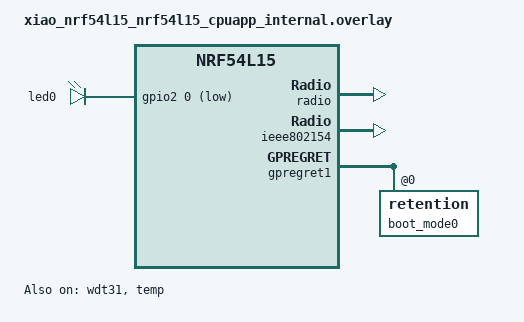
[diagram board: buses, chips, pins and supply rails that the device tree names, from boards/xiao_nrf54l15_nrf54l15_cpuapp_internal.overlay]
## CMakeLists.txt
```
#
# Copyright (c) 2023 Nordic Semiconductor ASA
#
# SPDX-License-Identifier: LicenseRef-Nordic-5-Clause
#

cmake_minimum_required(VERSION 3.20.0)

find_package(Zephyr HINTS $ENV{ZEPHYR_BASE})

project(thermostat)

# Enable GNU STD support.
include(${ZEPHYR_CONNECTEDHOMEIP_MODULE_DIR}/config/nrfconnect/app/enable-gnu-std.cmake)

# NORDIC SDK APP START

# Include all source files that are located in the Matter common directory.
include(${ZEPHYR_NRF_MODULE_DIR}/samples/matter/common/cmake/source_common.cmake)

# Include Data Model utils
include(${ZEPHYR_NRF_MODULE_DIR}/samples/matter/common/cmake/data_model.cmake)

include(${ZEPHYR_NRF_MODULE_DIR}/samples/matter/common/cmake/zap_helpers.cmake)
ncs_get_zap_parent_dir(ZAP_PARENT_DIR)

target_include_directories(app PRIVATE
  src
  src/sync
  third_party
  ${ZAP_PARENT_DIR}
)

target_sources(app PRIVATE
  src/airconditioner_manager.cpp
  src/airconditioner_shell.cpp
  src/app_task.cpp
  src/main.cpp
  src/s21/s21_datalink_uart.cpp
  src/s21/s21_frame.cpp
  src/s21/s21_manager.cpp
  src/s21/s21_presentation.cpp
  src/s21/s21_presentation_sync_adapter.cpp
  src/s21/s21_shell.cpp
  src/s21/s21_stack.cpp
  src/zcl_callbacks.cpp
  src/sync/projector.cpp
  src/sync/reconciler.cpp
  src/sync/change_publisher.cpp
  src/sync/sync_coordinator.cpp
  src/sync/aai_thermostat.cpp
  src/sync/aai_onoff.cpp
  src/sync/aai_fan_control.cpp
  src/sync/aai_humidity.cpp
  src/sync/aai_installer.cpp
  src/sync/command_router.cpp
)

ncs_configure_data_model()
# NORDIC SDK APP END
```

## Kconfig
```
#
# Copyright (c) 2023 Nordic Semiconductor
#
# SPDX-License-Identifier: LicenseRef-Nordic-5-Clause
#
mainmenu "Matter Thermostat sample application"

config THERMOSTAT_TEMPERATURE_STEP
	int "Defines a simulated temperature step. Use 0 for random"
	default 0
	help
	  A temperature step that defines differences between consecutive simulated temperature measurements. If set to 0, then the step is random.

config THERMOSTAT_SIMULATED_TEMPERATURE_MAX
	int "Maximum simulated temperature value"
	default 3000

config THERMOSTAT_SIMULATED_TEMPERATURE_MIN
	int "Minimum simulated temperature value"
	default 1500

config THERMOSTAT_SIMULATED_TEMPERATURE_CHANGE
	bool "Select to set the temperature to rise or fall"
	default y
	help
	  If set to true, the simulated temperature is rising. If set to false, the simulated temperature is falling.

# Enable Read Client functionality for all build configurations.
config CHIP_ENABLE_READ_CLIENT
	default y

# Sample configuration used for Thread networking
if OPENTHREAD

choice OPENTHREAD_NORDIC_LIBRARY_CONFIGURATION
	default OPENTHREAD_NORDIC_LIBRARY_FTD
endchoice

choice OPENTHREAD_DEVICE_TYPE
	default OPENTHREAD_FTD
endchoice

endif # OPENTHREAD

config CHIP_WIFI
	default y if BOARD_NRF7002DK_NRF5340_CPUAPP || SHIELD_NRF7002EB2
	select DEPRECATED if SOC_SERIES_NRF53X

source "$(ZEPHYR_CONNECTEDHOMEIP_MODULE_DIR)/config/nrfconnect/chip-module/Kconfig.features"
source "$(ZEPHYR_CONNECTEDHOMEIP_MODULE_DIR)/config/nrfconnect/chip-module/Kconfig.defaults"
source "$(ZEPHYR_NRF_MODULE_DIR)/samples/matter/common/src/Kconfig"
source "Kconfig.zephyr"
```

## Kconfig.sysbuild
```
#
# Copyright (c) 2023 Nordic Semiconductor ASA
#
# SPDX-License-Identifier: LicenseRef-Nordic-5-Clause
#

# This config has to be enabled manually for variants with shields, because sysbuild does not support it.
config WIFI_NRF70
	default y if BOARD_NRF7002DK

#### Radio core selection
config NRF_DEFAULT_IPC_RADIO
	default y

# Enable IEEE802.15.4 serialization to network core
# This config automatically pulls in the `overlay-802154.conf` in the ipc_radio image
config NETCORE_IPC_RADIO_IEEE802154
	default y if SOC_SERIES_NRF53X && !WIFI_NRF70

# Enable Bluetooth serialization to network core
# This config automatically pulls in the `overlay-bt_hci_ipc.conf` in the ipc_radio image
config NETCORE_IPC_RADIO_BT_HCI_IPC
	default y if SOC_SERIES_NRF53X

#### Bootloader
choice BOOTLOADER
	default BOOTLOADER_MCUBOOT
endchoice

if BOOTLOADER_MCUBOOT

#### DFU multi-image support
config DFU_MULTI_IMAGE_PACKAGE_BUILD
	default y

config DFU_MULTI_IMAGE_PACKAGE_APP
	default y

config PM_EXTERNAL_FLASH_MCUBOOT_SECONDARY
	default y

#### DFU network core configuration
if SOC_SERIES_NRF53X

choice MCUBOOT_MODE
	default MCUBOOT_MODE_OVERWRITE_ONLY
endchoice

choice BOOT_SIGNATURE_TYPE
	default BOOT_SIGNATURE_TYPE_RSA
endchoice

config SECURE_BOOT_NETCORE
	default y

config NETCORE_APP_UPDATE
	default y

config DFU_MULTI_IMAGE_PACKAGE_NET
	default y

endif # SOC_SERIES_NRF53X

#### Production image signing for the nRF54L series (XIAO + DK)
if SOC_SERIES_NRF54L

# MCUboot image signing. By default the public verification key is compiled into
# the MCUboot image (MCUBOOT_SIGNATURE_USING_KMU defaults to n in the SDK); this
# works with the XIAO's onboard CMSIS-DAP probe via a plain `west flash`, with no
# provisioning step.
#
# To instead store the key in the hardware KMU (more hardened, supports key
# revocation), build with -DSB_CONFIG_MCUBOOT_SIGNATURE_USING_KMU=y (or set it in
# sysbuild_internal.conf) and flash with a SEGGER J-Link via
# `west flash --runner jlink --erase`. The XIAO's CMSIS-DAP probe cannot provision
# the KMU. The private key and the signing operation are identical either way --
# only the public-key storage location differs -- so switching needs no new key.

choice BOOT_SIGNATURE_TYPE
	default BOOT_SIGNATURE_TYPE_ED25519
endchoice

# Emit keyfile.json (consumed by `west flash --erase` to provision the KMU) only
# when KMU storage is selected, so MCUBOOT_SIGNATURE_USING_KMU is the single flag
# that controls the whole mode.
config MCUBOOT_GENERATE_DEFAULT_KEY_FILE
	default y if MCUBOOT_SIGNATURE_USING_KMU

# Production signing key, shared by both storage modes. ${APP_DIR} is expanded by
# the image-signing CMake script to the application directory (a bare relative
# path would instead be resolved against the west workspace topdir). This file is
# gitignored and must be generated locally (see README); a fresh clone will not
# build until it is supplied.
config BOOT_SIGNATURE_KEY_FILE
	default "${APP_DIR}/keys/mcuboot_ed25519_priv.pem"

endif # SOC_SERIES_NRF54L

if BOARD_NRF54L15DK || BOARD_NRF54LM20DK

# Disable checking the external drivers for nRF54L15 and nRF54LM20 DKs.
config PM_OVERRIDE_EXTERNAL_DRIVER_CHECK
	default y

endif # BOARD_NRF54L15DK || BOARD_NRF54LM20DK

endif # BOOTLOADER_MCUBOOT

#### Enable generating factory data
config MATTER_FACTORY_DATA_GENERATE
	default y

# Store the Wi-Fi firmware patch on external flash by default for nRF5340 with nRF7002
if WIFI_NRF70 && SOC_NRF5340_CPUAPP

choice WIFI_PATCHES_EXT_FLASH_SUPPORT
	default WIFI_PATCHES_EXT_FLASH_STORE

endchoice

config DFU_MULTI_IMAGE_PACKAGE_WIFI_FW_PATCH
	default y

endif # WIFI_NRF70

source "share/sysbuild/Kconfig"
```

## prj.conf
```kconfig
#
# Copyright (c) 2023 Nordic Semiconductor ASA
#
# SPDX-License-Identifier: LicenseRef-Nordic-5-Clause
#

# This sample uses Kconfig.defaults to set options common for all
# samples. This file should contain only options specific for this sample
# or overrides of default values.

CONFIG_CONSOLE=y
CONFIG_UART_CONSOLE=y

# Enable shell
CONFIG_SHELL=y
CONFIG_SHELL_TAB=y
CONFIG_SHELL_HELP=y
CONFIG_SHELL_HISTORY=y
CONFIG_SHELL_METAKEYS=y
CONFIG_DEVICE_SHELL=y
CONFIG_UART_SHELL=y
CONFIG_CHIP_LIB_SHELL=y
CONFIG_NCS_SAMPLE_MATTER_TEST_SHELL=y
CONFIG_OPENTHREAD_SHELL=y

# Enable UART
CONFIG_SERIAL=y
CONFIG_UART_ASYNC_API=y
CONFIG_UART_NRFX=y
CONFIG_NET_BUF=y

# Enable CHIP
CONFIG_CHIP=y
CONFIG_CHIP_PROJECT_CONFIG="src/chip_project_config.h"
CONFIG_CHIP_DEVICE_PRODUCT_NAME="Matter Air Conditioner"

# Configure ZAP file name
CONFIG_NCS_SAMPLE_MATTER_ZAP_FILE_PATH="${APPLICATION_CONFIG_DIR}/src/default_zap/room-airconditioner.zap"

# 32781 == 0x800d (example specialised product)
CONFIG_CHIP_DEVICE_PRODUCT_ID=32781
CONFIG_STD_CPP17=y

# Enable Matter pairing automatically on application start.
CONFIG_CHIP_ENABLE_PAIRING_AUTOSTART=y

# Enable Matter extended announcement and increase duration to 1 hour.
CONFIG_CHIP_BLE_EXT_ADVERTISING=y
CONFIG_CHIP_BLE_ADVERTISING_DURATION=60

# Add support for LEDs and buttons on Nordic development kits
CONFIG_DK_LIBRARY=n

# Bluetooth Low Energy configuration
CONFIG_BT_DEVICE_NAME="MatterAirCon"

# Other settings
CONFIG_THREAD_NAME=y
CONFIG_MPU_STACK_GUARD=y
CONFIG_RESET_ON_FATAL_ERROR=n

# Disable NFC onboarding
CONFIG_CHIP_NFC_ONBOARDING_PAYLOAD=n

# Reduce application size
CONFIG_USE_SEGGER_RTT=n

# Enable Factory Data feature
CONFIG_CHIP_FACTORY_DATA=y
CONFIG_CHIP_FACTORY_DATA_BUILD=y

# Configure UART logging and shell
CONFIG_LOG=y
CONFIG_LOG_MODE_DEFERRED=y
CONFIG_LOG_PROCESS_THREAD_STACK_SIZE=1024
CONFIG_LOG_BUFFER_SIZE=8192
CONFIG_LOG_FUNC_NAME_PREFIX_DBG=y

# Use hardware FPU with hard-float ABI
CONFIG_FPU=y
CONFIG_FP_HARDABI=y

# Use pre-built OpenThread FTD library (instead of building from source)
CONFIG_OPENTHREAD_LIBRARY=y
```

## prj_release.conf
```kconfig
#
# Copyright (c) 2023 Nordic Semiconductor ASA
#
# SPDX-License-Identifier: LicenseRef-Nordic-5-Clause
#

# This sample uses Kconfig.defaults to set options common for all
# samples. This file should contain only options specific for this sample
# or overrides of default values.

# Enable UART
CONFIG_SERIAL=y
CONFIG_UART_ASYNC_API=y
CONFIG_UART_NRFX=y
CONFIG_NET_BUF=y

# Enable CHIP
CONFIG_CHIP=y
CONFIG_CHIP_PROJECT_CONFIG="src/chip_project_config.h"
CONFIG_CHIP_DEVICE_PRODUCT_NAME="Matter Air Conditioner"

# Configure ZAP file name
CONFIG_NCS_SAMPLE_MATTER_ZAP_FILE_PATH="${APPLICATION_CONFIG_DIR}/src/default_zap/room-airconditioner.zap"

# 32781 == 0x800d (example specialised product)
CONFIG_CHIP_DEVICE_PRODUCT_ID=32781
CONFIG_STD_CPP17=y

# Enable Matter pairing automatically on application start.
CONFIG_CHIP_ENABLE_PAIRING_AUTOSTART=y

# Enable Matter extended announcement and increase duration to 1 hour.
CONFIG_CHIP_BLE_EXT_ADVERTISING=y
CONFIG_CHIP_BLE_ADVERTISING_DURATION=60

# Add support for LEDs and buttons on Nordic development kits
CONFIG_DK_LIBRARY=n

# Bluetooth Low Energy configuration
CONFIG_BT_DEVICE_NAME="MatterThermo"

# Enable system reset on fatal error
CONFIG_RESET_ON_FATAL_ERROR=y

# Disable all debug features
CONFIG_USE_SEGGER_RTT=n
CONFIG_SHELL=n
CONFIG_OPENTHREAD_SHELL=n
CONFIG_CHIP_LIB_SHELL=n
CONFIG_CONSOLE=n
CONFIG_UART_CONSOLE=n
CONFIG_SERIAL=n
CONFIG_LOG=n
CONFIG_LOG_MODE_MINIMAL=n
CONFIG_ASSERT_VERBOSE=n
CONFIG_ASSERT_NO_FILE_INFO=y
CONFIG_PRINTK=n
CONFIG_PRINTK_SYNC=n
CONFIG_THREAD_NAME=n
CONFIG_BOOT_BANNER=n

# Disable NFC onboarding
CONFIG_CHIP_NFC_ONBOARDING_PAYLOAD=n

# Use hardware FPU with hard-float ABI
CONFIG_FPU=y
CONFIG_FP_HARDABI=y

# Use pre-built OpenThread FTD library (instead of building from source)
CONFIG_OPENTHREAD_LIBRARY=y

# Enable Factory Data feature
CONFIG_CHIP_FACTORY_DATA=y
CONFIG_CHIP_FACTORY_DATA_BUILD=y

# Enable Watchdog
CONFIG_NCS_SAMPLE_MATTER_WATCHDOG=y

# Enable LTO to decrease the flash usage.
CONFIG_LTO=y
CONFIG_ISR_TABLES_LOCAL_DECLARATION=y
```

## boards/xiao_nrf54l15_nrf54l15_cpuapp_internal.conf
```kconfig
#
# Copyright (c) 2024 Nordic Semiconductor ASA
#
# SPDX-License-Identifier: LicenseRef-Nordic-5-Clause
#

# Adapted from nrf54l15dk/Kconfig.defconfig
CONFIG_HW_STACK_PROTECTION=y

# Enable Watchdog
CONFIG_NCS_SAMPLE_MATTER_WATCHDOG=y

# Enable LTO to decrease the flash usage.
CONFIG_LTO=y
CONFIG_ISR_TABLES_LOCAL_DECLARATION=y

# S21DataLinkUart: nrfx GPPI for DPPI channel allocation, dynamic ISR
CONFIG_NRFX_GPPI=y
CONFIG_DYNAMIC_INTERRUPTS=y
```

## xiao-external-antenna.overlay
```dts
/*
 * External antenna for XIAO nRF54L15.
 */

&rfsw_ctl {
    /delete-property/ regulator-boot-on;
    regulator-boot-off; // switch to external antenna
};
```

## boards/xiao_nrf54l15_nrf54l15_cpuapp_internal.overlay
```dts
/*
 * Copyright (c) 2024 Nordic Semiconductor ASA
 *
 * SPDX-License-Identifier: LicenseRef-Nordic-5-Clause
 */

/ {
	chosen {
		zephyr,flash-controller = &rram_controller; /* from boards/nordic/nrf54l15dk/nrf54l_05_10_15_cpuapp_common.dtsi */
		zephyr,boot-mode = &boot_mode0;		    /* from boards/nordic/nrf54l15dk/nrf54l_05_10_15_cpuapp_common.dtsi */
	};

	aliases {
		/* Use watchdog wdt31 as the application watchdog */
		watchdog0 = &wdt31;
		s21uart = &uart21;
	};
};

&led0 {
	gpios = <&gpio2 0 GPIO_ACTIVE_LOW>; /* board default is incorrectly set as GPIO_ACTIVE_HIGH */
};

/* restore full RRAM and SRAM space - by default some parts are dedicated to FLRP */
&cpuapp_rram {
	reg = <0x0 DT_SIZE_K(1524)>;
};

&cpuapp_sram {
	reg = <0x20000000 DT_SIZE_K(256)>;
	ranges = <0x0 0x20000000 0x40000>;
};

/* S21 UART — managed directly via nrfx (not the Zephyr serial driver).
 * Pin mux and baud rate are configured in S21DataLinkUart::init().
 * Keep status = "reserved" so DT macros (DT_ALIAS, DT_IRQ) still work. */
&timer20 {
	status = "reserved"; /* used as S21 watchdog timer; managed directly via nrfx HAL */
};

&uart21 {
	status = "reserved";
	current-speed = <2400>;
	parity = "even";
	stop-bits = "2";
	/delete-property/ hw-flow-control;
};

&wdt31 {
	status = "okay";
};

/* save energy by disabling unused peripherals */
&i2c22 {
	status = "disabled";
};

&i2c30 {
	status = "disabled";
};

&spi00 {
	status = "disabled";
};

/* only present on the XIAO Sense variant */
&lsm6ds3tr_c {
	status = "disabled";
};

/* only present on the XIAO Sense variant */
&pdm_imu_pwr {
	status = "disabled";
};

/* disable battery voltage monitoring (regulator-boot-off). change to regulator-boot-on if running on battery and monitoring voltage (ADC P1.14). */
&vbat_pwr {
	regulator-boot-off;
};

/* begin: from boards/nordic/nrf54l15dk/nrf54l_05_10_15_cpuapp_common.dtsi */
&radio {
	status = "okay";
};

&ieee802154 {
	status = "okay";
};

&temp {
	status = "okay";
};

&gpregret1 {
	status = "okay";

	boot_mode0: boot_mode@0 {
		compatible = "zephyr,retention";
		status = "okay";
		reg = <0x0 0x1>;
	};
};
/* end: from boards/nordic/nrf54l15dk/nrf54l_05_10_15_cpuapp_common.dtsi */
```

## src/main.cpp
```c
/*
 * Copyright (c) 2023 Nordic Semiconductor ASA
 *
 * SPDX-License-Identifier: LicenseRef-Nordic-5-Clause
 */

#include "app_task.h"

#include <zephyr/logging/log.h>

LOG_MODULE_REGISTER(app, CONFIG_MATTER_LOG_LEVEL);

int main()
{
    CHIP_ERROR err = AppTask::Instance().StartApp();

    LOG_ERR("Exited with code %" CHIP_ERROR_FORMAT, err.Format());
    return err == CHIP_NO_ERROR ? EXIT_SUCCESS : EXIT_FAILURE;
}
```

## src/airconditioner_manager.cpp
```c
/*
 * Copyright (c) 2023 Nordic Semiconductor ASA
 *
 * SPDX-License-Identifier: LicenseRef-Nordic-5-Clause
 */

#include "airconditioner_manager.h"
#include "sync/aai_translation.h"
#include "sync/s21_observation.h"
#include "sync/sync_coordinator.h"

#include "app/task_executor.h"

#include <app-common/zap-generated/cluster-objects.h>
#include <app/reporting/reporting.h>
#include <platform/PlatformManager.h>
#include <zephyr/drivers/gpio.h>
#include <zephyr/logging/log.h>

#include <optional>
#include <utility>

LOG_MODULE_REGISTER(aircon_mgr, LOG_LEVEL_DBG);

using namespace chip;
using namespace ::chip::DeviceLayer;
using namespace ::chip::app::Clusters;
using namespace ::chip::app::Clusters::Thermostat::Attributes;
using namespace Protocols::InteractionModel;

K_THREAD_STACK_DEFINE(sS21WorkQueueStack, 2048);

namespace {

uint8_t ReturnCompleteValue(int16_t v)  { return static_cast<uint8_t>(v / 100); }
uint8_t ReturnRemainderValue(int16_t v) { return static_cast<uint8_t>((v % 100 + 5) / 10); }

} // namespace

// ─── PowerIndicatorListener: LED0 ownership ─────────────────────────────────

const struct gpio_dt_spec
AirConditionerManager::PowerIndicator::sLed0 =
    GPIO_DT_SPEC_GET(DT_ALIAS(led0), gpios);

int AirConditionerManager::PowerIndicator::Init(bool initialOnOff)
{
    if (!gpio_is_ready_dt(&sLed0)) {
        LOG_ERR("LED0 GPIO device is not ready");
        return -ENODEV;
    }
    const int flags = initialOnOff ? GPIO_OUTPUT_ACTIVE : GPIO_OUTPUT_INACTIVE;
    const int rc = gpio_pin_configure_dt(&sLed0, flags);
    if (rc < 0) {
        LOG_ERR("Failed to configure LED0 GPIO pin (%d)", rc);
        return rc;
    }
    return 0;
}

void AirConditionerManager::PowerIndicator::Set(bool onOff)
{
    gpio_pin_set_dt(&sLed0, onOff);
}

void AirConditionerManager::PowerIndicator::OnChangedAttributes(
    const std::vector<sync::LogicalAttribute>& attributes)
{
    for (auto attr : attributes) {
        if (attr == sync::LogicalAttribute::OnOff) {
            // Both gpio_pin_set_dt and ReadOnOff are thread-safe and
            // don't touch the CHIP stack lock, so this runs synchronously
            // on whichever thread dispatched the listener.
            Set(mOwner.mSyncCoordinator->ReadOnOff());
            return;
        }
    }
}

// ─── MatterReportListener: dirty-attribute queue + drain ────────────────────

void AirConditionerManager::MatterAttributeChangeReporter::OnChangedAttributes(
    const std::vector<sync::LogicalAttribute>& attributes)
{
    k_mutex_lock(&mQueueMutex, K_FOREVER);
    mQueue.insert(mQueue.end(), attributes.begin(), attributes.end());
    k_mutex_unlock(&mQueueMutex);

    Nrf::PostTask([this] { DrainOnMatterEventLoop(); });
}

void AirConditionerManager::MatterAttributeChangeReporter::DrainOnMatterEventLoop()
{
    std::vector<sync::LogicalAttribute> local;
    k_mutex_lock(&mQueueMutex, K_FOREVER);
    local.swap(mQueue);
    k_mutex_unlock(&mQueueMutex);
    if (local.empty()) return;

    PlatformMgr().LockChipStack();
    for (auto attr : local) {
        const auto [cluster, attribute] = sync_aai::toMatterAddress(attr);
        // The {0,0} sentinel marks attributes without a Matter address yet
        // (currently only BridgedDeviceBasicInformation::Reachable, pending
        // Phase 8 ZAP work). Skip those rather than emitting a bogus report.
        if (cluster == 0 && attribute == 0) continue;
        MatterReportingAttributeChangeCallback(kThermostatEndpoint, cluster, attribute);
    }
    PlatformMgr().UnlockChipStack();
}

// ─── Init / lifecycle ────────────────────────────────────────────────────────

CHIP_ERROR AirConditionerManager::Init(S21Manager& s21Manager, sync::SyncCoordinator& syncStack)
{
    mS21Manager = &s21Manager;
    mSyncCoordinator  = &syncStack;

    // Configure LED0 and drive it to the current OnOff before registering
    // the listener — a dispatch arriving before Init returns would
    // otherwise fire gpio_pin_set_dt on an unconfigured pin.
    if (mPowerIndicator.Init(mSyncCoordinator->ReadOnOff()) != 0) {
        return CHIP_ERROR_INTERNAL;
    }

    k_work_queue_start(&mS21WorkQueue, sS21WorkQueueStack,
                       K_THREAD_STACK_SIZEOF(sS21WorkQueueStack),
                       K_PRIO_PREEMPT(5), NULL);
    k_work_init_delayable(&mPollWork,      PollWorkHandler);
    k_work_init_delayable(&mInitRetryWork, InitRetryWorkHandler);
    k_work_init_delayable(&mCommandWork,   CommandWorkHandler);

    // Wire up SyncCoordinator so AAI Writes and Polls schedule the right
    // follow-up work. The pump handler is a static fn; the two listeners
    // are nested-class members that reach mOwner for context.
    mSyncCoordinator->SetCommandPumpHandler(&AirConditionerManager::ScheduleS21CommandHandler);
    ReturnErrorOnFailure(mSyncCoordinator->AddChangedAttributesListener(&mMatterAttributeChangeReporter));
    ReturnErrorOnFailure(mSyncCoordinator->AddChangedAttributesListener(&mPowerIndicator));

    if (mS21Manager->Init() == 0) {
        k_work_reschedule_for_queue(&mS21WorkQueue, &mPollWork, K_NO_WAIT);
    } else {
        LOG_DBG("S21Manager Init failed; retry in %d ms", mInitRetryIntervalMs);
        k_work_reschedule_for_queue(&mS21WorkQueue, &mInitRetryWork,
                                    K_MSEC(mInitRetryIntervalMs));
    }

    LOG_DBG("AirConditionerManager initialised");
    return CHIP_NO_ERROR;
}

// ─── Poll loop (S21 work queue) ──────────────────────────────────────────────

void AirConditionerManager::PollWorkHandler(k_work* work)
{
    auto* dwork = k_work_delayable_from_work(work);
    auto& self  = *CONTAINER_OF(dwork, AirConditionerManager, mPollWork);
    self.Poll();
    k_work_reschedule_for_queue(&self.mS21WorkQueue, &self.mPollWork,
                                K_SECONDS(kS21PollIntervalSec));
}

void AirConditionerManager::Poll()
{
    // Env first: when both phases fire on the same tick, the operational
    // projector pass downstream sees the freshly-applied indoor temperature
    // when it computes RunningMode (Auto-mode disambiguation, no-valve
    // hysteresis fallback). Dirty attribution lands in one pass instead of
    // an env-then-op re-flip.
    PollEnvironmentalPhase();
    PollOperationalPhase();
    // Dirty-attribute flush, command-pump scheduling, and the LED side
    // effect for OnOff transitions are all handled by the SyncCoordinator hooks
    // installed in Init().
}

void AirConditionerManager::PollEnvironmentalPhase()
{
    const bool envTick = (mEnvironmentalReadCountdown == 0);
    if (envTick) mEnvironmentalReadCountdown = kS21EnvironmentalSensorReadTicks - 1;
    else         --mEnvironmentalReadCountdown;
    if (!envTick) return;

    auto indoor   = mS21Manager->getRoomTemperature();
    auto outdoor  = mS21Manager->getOutdoorTemperature();
    auto humidity = mS21Manager->getHumidity();

    if (!indoor)   LOG_WRN("getRoomTemperature failed: %s",    indoor.error().message);
    if (!outdoor)  LOG_INF("getOutdoorTemperature failed: %s", outdoor.error().message);
    if (!humidity) LOG_INF("getHumidity failed: %s",           humidity.error().message);

    // All-or-nothing env contract (C1 split). Partial sensor data would
    // leave LogicalACState's SensorFields out of sync with each other for
    // the rest of the env cycle; better to skip this tick and try the
    // next one ~2 minutes later.
    if (!indoor || !outdoor || !humidity) return;

    mSyncCoordinator->ApplyEnvironmentalObservation(sync::S21EnvironmentalObservation{
        .indoorTemperatureCelsius      = *indoor,
        .outdoorTemperatureCelsius     = *outdoor,
        .indoorRelativeHumidityPercent = *humidity,
    });
}

void AirConditionerManager::PollOperationalPhase()
{
    auto op = mS21Manager->getOperation();
    if (!op) LOG_WRN("getOperation failed: %s", op.error().message);

    // Reachability heartbeat is op alone: env doesn't run every tick.
    if (!op) {
        if (++mConsecutivePollFailures >= kReachableFailureThreshold) {
            LOG_WRN("S21 link unresponsive after %d polls; marking unreachable",
                    mConsecutivePollFailures);
            mSyncCoordinator->NotifyLinkDown();
        }
        return;
    }
    mConsecutivePollFailures = 0;

    auto [onOff, mode, setpoint, fanMode] = *op;

    // Only query RzB2 when the unit reports powered on: when off, the
    // refrigerant valve is closed and the projector already short-circuits
    // RunningMode to Off on !onOff, so the read is pure overhead.
    std::optional<bool> refrigerantValveOpen;
    if (onOff) {
        auto unitState = mS21Manager->getUnitState();
        if (!unitState) LOG_INF("getUnitState failed: %s", unitState.error().message);
        else            refrigerantValveOpen = unitState->refrigerantValveOpen;
    }

    mSyncCoordinator->ApplyOperationalObservation(sync::S21OperationalObservation{
        .onOff                = onOff,
        .operatingMode        = mode,
        .setpointCelsius      = setpoint,
        .fanMode              = fanMode,
        .refrigerantValveOpen = refrigerantValveOpen,
    });
}

void AirConditionerManager::InitRetryWorkHandler(k_work* work)
{
    auto* dwork = k_work_delayable_from_work(work);
    auto& self  = *CONTAINER_OF(dwork, AirConditionerManager, mInitRetryWork);

    LOG_DBG("Retrying S21Manager::Init()");
    int err = self.mS21Manager->Init();
    LOG_DBG("S21Manager::Init() returned %d, isReady=%s", err,
            self.mS21Manager->isReady() ? "true" : "false");

    if (err == 0) {
        __ASSERT(self.mS21Manager->isReady(),
                 "S21Manager::Init() succeeded but manager is not ready");
        k_work_reschedule_for_queue(&self.mS21WorkQueue, &self.mPollWork, K_NO_WAIT);
    } else {
        k_work_reschedule_for_queue(&self.mS21WorkQueue, &self.mInitRetryWork,
                                    K_MSEC(self.mInitRetryIntervalMs));
        self.mInitRetryIntervalMs = MIN(self.mInitRetryIntervalMs * 2,
                                        kS21InitRetryMaximumIntervalMilliSec);
    }
}

// ─── Command pump (S21 work queue) ───────────────────────────────────────────

void AirConditionerManager::ScheduleS21CommandHandler()
{
    auto& self = Instance();
    k_work_reschedule_for_queue(&self.mS21WorkQueue, &self.mCommandWork,
                                K_MSEC(kCommandDebounceMs));
}

void AirConditionerManager::CommandWorkHandler(k_work* work)
{
    auto* dwork = k_work_delayable_from_work(work);
    auto& self  = *CONTAINER_OF(dwork, AirConditionerManager, mCommandWork);

    auto cmd = self.mSyncCoordinator->PendingCommand();
    if (!cmd.has_value()) return;

    LOG_INF("Sending setOperation(onOff=%s, mode=%u, setpoint=%d, fan=%u) to S21",
            cmd->onOff ? "true" : "false",
            static_cast<uint8_t>(cmd->operatingMode),
            cmd->setpointCelsius,
            static_cast<uint8_t>(cmd->fanMode));

    auto result = self.mS21Manager->setOperation(
        cmd->onOff, cmd->operatingMode, cmd->setpointCelsius, cmd->fanMode);
    if (result) {
        self.mSyncCoordinator->OnCommandSent(*cmd);
    } else {
        LOG_WRN("setOperation failed: %s", result.error().message);
        self.mSyncCoordinator->OnCommandFailed();
    }
}

// ─── Cached sensor reads (used by external thermostat readback) ──────────────

std::optional<int16_t> AirConditionerManager::GetLocalTemp()
{
    return mSyncCoordinator->ReadLocalTemperature();
}

std::optional<int16_t> AirConditionerManager::GetOutdoorTemp()
{
    return mSyncCoordinator->ReadOutdoorTemperature();
}

// ─── Debug logging (Button 2) ────────────────────────────────────────────────

const char* AirConditionerManager::GetOperationalModeStr(sync::OperationalMode mode)
{
    switch (mode) {
    case sync::OperationalMode::Auto:    return "Auto";
    case sync::OperationalMode::Cool:    return "Cool";
    case sync::OperationalMode::Heat:    return "Heat";
    case sync::OperationalMode::FanOnly: return "Fan Only";
    case sync::OperationalMode::Dry:     return "Dry";
    }
    return "Unknown";
}

const char* AirConditionerManager::GetRunningModeStr(sync::RunningMode mode)
{
    switch (mode) {
    case sync::RunningMode::Off:     return "Off";
    case sync::RunningMode::Cooling: return "Cooling";
    case sync::RunningMode::Heating: return "Heating";
    }
    return "Unknown";
}

void AirConditionerManager::LogThermostatStatus()
{
    auto& r = *mSyncCoordinator;
    LOG_INF("Thermostat (bridge view):");
    LOG_INF("  Power - %s",      r.ReadOnOff() ? "On" : "Off");
    LOG_INF("  Mode  - %s",      GetOperationalModeStr(r.ReadMode()));
    LOG_INF("  Run   - %s",      GetRunningModeStr(r.ReadRunningMode()));
    auto local = r.ReadLocalTemperature();
    auto outdoor = r.ReadOutdoorTemperature();
    if (local.has_value())
        LOG_INF("  LocalTemperature   - %d,%d'C",
                ReturnCompleteValue(*local), ReturnRemainderValue(*local));
    else
        LOG_INF("  LocalTemperature   - No Value");
    if (outdoor.has_value())
        LOG_INF("  OutdoorTemperature - %d,%d'C",
                ReturnCompleteValue(*outdoor), ReturnRemainderValue(*outdoor));
    else
        LOG_INF("  OutdoorTemperature - No Value");
    const int16_t heat = r.ReadOccupiedHeatingSetpoint();
    const int16_t cool = r.ReadOccupiedCoolingSetpoint();
    LOG_INF("  HeatingSetpoint    - %d,%d'C",
            ReturnCompleteValue(heat), ReturnRemainderValue(heat));
    LOG_INF("  CoolingSetpoint    - %d,%d'C",
            ReturnCompleteValue(cool), ReturnRemainderValue(cool));
}

void AirConditionerManager::LogMatterThermostatStatus()
{
    // Pre-cutover this dumped the cluster-server's RAM view; now the
    // bridge IS the cluster's view, so it's the same readout. Kept as a
    // separate function for compatibility with app_task.cpp's button.
    LogThermostatStatus();
}
```

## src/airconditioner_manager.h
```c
/*
 * Copyright (c) 2023 Nordic Semiconductor ASA
 *
 * SPDX-License-Identifier: LicenseRef-Nordic-5-Clause
 */
#pragma once

#include "s21/s21_manager.h"
#include "sync/changed_attributes_listener.h"
#include "sync/logical_attribute.h"
#include "sync/operational_mode.h"

#include <app-common/zap-generated/attributes/Accessors.h>
#include <lib/core/CHIPError.h>

#include <optional>
#include <stdbool.h>
#include <stdint.h>
#include <vector>
#include <zephyr/drivers/gpio.h>
#include <zephyr/kernel.h>

namespace sync { class SyncCoordinator; }

/**
 * AirConditionerManager owns the runtime mechanics that connect the S21
 * data link to the Matter stack:
 *
 *   - the S21 work queue and its three work items (init retry, poll, pump),
 *   - the command-pump handler that wakes the pump on SyncCoordinator mutations,
 *   - two ChangedAttributesListeners installed into SyncCoordinator:
 *       MatterReportListener   — drains dirty paths into the Matter event
 *                                loop and fires reporting callbacks under
 *                                the CHIP stack lock,
 *       PowerIndicatorListener — owns LED0 end-to-end (GPIO configure,
 *                                set, and the OnOff dirty-path handler).
 *
 * Bridge state (twins, intents, projections) lives in sync::SyncCoordinator.
 * Every controller-side write and every poll observation flows through
 * SyncCoordinator; this class is the choreographer, not the source of truth.
 */
class AirConditionerManager {
  public:
    static AirConditionerManager& Instance()
    {
        static AirConditionerManager sAirConditionerManager;
        return sAirConditionerManager;
    }

    /// One-time setup. Brings up the S21 work queue, starts the poll/init
    /// loop, wires the SyncCoordinator command-pump handler, and registers the
    /// two ChangedAttributesListeners (Matter reporter, power indicator).
    CHIP_ERROR Init(S21Manager& s21Manager, sync::SyncCoordinator& syncStack);

    /// Debug helpers retained for the existing Button 2 handler.
    void LogThermostatStatus();
    void LogMatterThermostatStatus();

    /// Cached sensor reads used by sensor.cpp's "external thermostat"
    /// readback path. Both go through SyncCoordinator now. `std::nullopt` mirrors
    /// the cluster-server's "null" state.
    std::optional<int16_t> GetLocalTemp();
    std::optional<int16_t> GetOutdoorTemp();

  private:
    AirConditionerManager() = default;

    static constexpr chip::EndpointId kThermostatEndpoint = 1;
    static constexpr int kS21PollIntervalSec                  = 10;
    static constexpr int kS21InitRetryInitialIntervalMilliSec = 500;
    static constexpr int kS21InitRetryMaximumIntervalMilliSec = 60'000;
    static constexpr int kCommandDebounceMs                   = 50;

    /// Cadence ratio of operational to environmental polls. Environmental
    /// reads (room/outdoor temperature, humidity) fire on every Nth poll
    /// where N = this constant; operational reads (op + conditional unit
    /// state) fire every poll. At kS21PollIntervalSec = 10 s and N = 6,
    /// sensors refresh every ~1 minute — enough for steady-state HVAC use
    /// and a meaningful reduction in S21 traffic.
    static constexpr int kS21EnvironmentalSensorReadTicks = 6;

    /// Number of consecutive operational-poll failures before we flip the
    /// bridge's Reachable view to false. Three at the 10 s poll interval
    /// gives a ~30 s window — long enough to absorb a single transient bus
    /// glitch, short enough to surface a real outage before the controller's
    /// subscription timeout.
    static constexpr int kReachableFailureThreshold = 3;

    // ─── Listeners ───────────────────────────────────────────────────────

    /// Drains dirty paths into a member queue and posts the drain onto the
    /// Matter event loop, where MatterReportingAttributeChangeCallback is
    /// invoked under the CHIP stack lock. The queue absorbs bursts from
    /// the S21 work queue without blocking it.
    class MatterAttributeChangeReporter : public sync::ChangedAttributesListener {
    public:
        explicit MatterAttributeChangeReporter(AirConditionerManager& owner) : mOwner(owner)
        {
            k_mutex_init(&mQueueMutex);
        }
        void OnChangedAttributes(const std::vector<sync::LogicalAttribute>& attributes) override;
        void DrainOnMatterEventLoop();
    private:
        AirConditionerManager&                 mOwner;
        k_mutex                                mQueueMutex;
        std::vector<sync::LogicalAttribute>    mQueue;
    };

    /// Owns LED0. Configures the GPIO at boot, drives it from the OnOff
    /// dirty path on every transition. Both gpio_pin_set_dt and the
    /// SyncCoordinator read call are thread-safe, so no CHIP-event-loop hop is
    /// needed in the dispatch body.
    class PowerIndicator : public sync::ChangedAttributesListener {
    public:
        explicit PowerIndicator(AirConditionerManager& owner) : mOwner(owner) {}
        /// Configure LED0 and drive it to `initialOnOff`. Call once,
        /// before AddChangedAttributesListener — a dispatch arriving
        /// before Init returns would fire gpio_pin_set_dt on an
        /// unconfigured pin. Returns 0 on success or a negative Zephyr
        /// errno (-ENODEV if the GPIO isn't ready, or the value from
        /// gpio_pin_configure_dt on configure failure).
        int Init(bool initialOnOff);
        void OnChangedAttributes(const std::vector<sync::LogicalAttribute>& attributes) override;
    private:
        void Set(bool onOff);
        AirConditionerManager& mOwner;
        static const struct gpio_dt_spec sLed0;
    };

    int mConsecutivePollFailures{0};

    /// Ticks remaining until the next environmental phase. Initialised to 0
    /// so the first poll after boot performs both phases — controllers see
    /// a complete view at boot.
    int mEnvironmentalReadCountdown{0};

    S21Manager*             mS21Manager{nullptr};
    sync::SyncCoordinator*        mSyncCoordinator{nullptr};
    struct k_work_q         mS21WorkQueue;
    struct k_work_delayable mPollWork;
    struct k_work_delayable mInitRetryWork;
    struct k_work_delayable mCommandWork;
    int                     mInitRetryIntervalMs{kS21InitRetryInitialIntervalMilliSec};

    MatterAttributeChangeReporter    mMatterAttributeChangeReporter{*this};
    PowerIndicator  mPowerIndicator{*this};

    static void PollWorkHandler(k_work* work);
    static void InitRetryWorkHandler(k_work* work);
    static void CommandWorkHandler(k_work* work);

    void Poll();
    void PollEnvironmentalPhase();
    void PollOperationalPhase();

    /// SyncCoordinator command-pump handler: queue mCommandWork on the S21 work
    /// queue with a short debounce so consecutive intents collapse into
    /// one D1.
    static void ScheduleS21CommandHandler();

    static const char* GetOperationalModeStr(sync::OperationalMode);
    static const char* GetRunningModeStr(sync::RunningMode);
};
```

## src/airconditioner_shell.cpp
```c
/*
 * SPDX-License-Identifier: LicenseRef-Apache-2.0
 *
 * Air conditioner shell commands — debug interface to the bridge's
 * canonical state (sync::LogicalACState) and related machinery.
 *
 * Usage:
 *   airconditioner status   # one field per line. TwinFields show
 *                           # observed / desired / inFlight / lastSrc /
 *                           # attribution; SensorFields show observed only.
 *
 * Synchronous: handlers read sync::SyncCoordinator under its internal mutex,
 * copy the state out, and format on the shell thread. Unlike s21_shell.cpp
 * there is no async callback indirection because no I/O is involved.
 */

#include "sync/logical_ac_state.h"
#include "sync/sensor_field.h"
#include "sync/sync_coordinator.h"
#include "sync/twin_field.h"

#include <app-common/zap-generated/attributes/Accessors.h>

#include <zephyr/shell/shell.h>

#include <cstdint>
#include <cstdio>
#include <cstdlib>

namespace {

using sync::FanLevel;
using sync::FanSpeed;
using sync::LogicalACState;
using sync::ObservationSource;
using sync::OperationalMode;
using sync::RunningMode;
using sync::SensorField;
using sync::TwinField;

/* ── Value formatters ─────────────────────────────────────────────── */

void fmtBool(char* buf, size_t n, bool v)
{
    snprintf(buf, n, "%s", v ? "true" : "false");
}

void fmtOpenClosedOpt(char* buf, size_t n, std::optional<bool> v)
{
    if (v) snprintf(buf, n, "%s", *v ? "open" : "closed");
    else   snprintf(buf, n, "n/a");
}

void fmtOnOff(char* buf, size_t n, bool v)
{
    snprintf(buf, n, "%s", v ? "on" : "off");
}

void fmtTemperature(char* buf, size_t n, int16_t v)
{
    int sign = v < 0 ? -1 : 1;
    int whole = abs(v / 100);
    int frac  = abs(v % 100);
    snprintf(buf, n, "%s%d.%02dC", sign < 0 ? "-" : "", whole, frac);
}

void fmtTemperatureOpt(char* buf, size_t n, std::optional<int16_t> v)
{
    if (v) fmtTemperature(buf, n, *v);
    else   snprintf(buf, n, "n/a");
}

void fmtHumidity(char* buf, size_t n, uint8_t v)
{
    snprintf(buf, n, "%u%%", static_cast<unsigned>(v));
}

void fmtHumidityOpt(char* buf, size_t n, std::optional<uint8_t> v)
{
    if (v) fmtHumidity(buf, n, *v);
    else   snprintf(buf, n, "n/a");
}

const char* operationalModeStr(OperationalMode m)
{
    switch (m) {
    case OperationalMode::Auto:    return "Auto";
    case OperationalMode::Cool:    return "Cool";
    case OperationalMode::Heat:    return "Heat";
    case OperationalMode::FanOnly: return "FanOnly";
    case OperationalMode::Dry:     return "Dry";
    }
    return "Unknown";
}

void fmtOperationalMode(char* buf, size_t n, OperationalMode v)
{
    snprintf(buf, n, "%s", operationalModeStr(v));
}

const char* runningModeStr(RunningMode m)
{
    switch (m) {
    case RunningMode::Off:     return "Off";
    case RunningMode::Cooling: return "Cooling";
    case RunningMode::Heating: return "Heating";
    }
    return "Unknown";
}

void fmtRunningMode(char* buf, size_t n, RunningMode v)
{
    snprintf(buf, n, "%s", runningModeStr(v));
}

const char* fanLevelStr(FanLevel f)
{
    switch (f) {
    case FanLevel::Quiet:   return "Quiet";
    case FanLevel::Low:     return "Low";
    case FanLevel::MidLow:  return "MidLow";
    case FanLevel::Medium:  return "Medium";
    case FanLevel::MidHigh: return "MidHigh";
    case FanLevel::High:    return "High";
    default:                return "Unknown";
    }
}

void fmtFanSpeed(char* buf, size_t n, FanSpeed v)
{
    snprintf(buf, n, "%s", v ? fanLevelStr(*v) : "Auto");
}

const char* sourceStr(ObservationSource s)
{
    switch (s) {
    case ObservationSource::Boot:   return "Boot";
    case ObservationSource::Device: return "Device";
    case ObservationSource::Matter: return "Matter";
    default:                        return "?";
    }
}

/* ── Per-field printers ───────────────────────────────────────────── */

template <typename T, typename Fmt>
void printTwin(const struct shell* sh, const char* name,
               const TwinField<T>& t, Fmt fmt)
{
    char obs[16], des[16], inf[16];
    fmt(obs, sizeof obs, t.observed());
    fmt(des, sizeof des, t.desired());
    if (t.inFlight().has_value()) {
        fmt(inf, sizeof inf, *t.inFlight());
    } else {
        inf[0] = '-';
        inf[1] = '\0';
    }

    shell_print(sh,
        "  %-18s observed=%-10s desired=%-10s inFlight=%-10s "
        "lastSrc=%-6s attr=%s",
        name, obs, des, inf,
        sourceStr(t.lastObservedSource()),
        sourceStr(t.attribution()));
}

template <typename T, typename Fmt>
void printSensor(const struct shell* sh, const char* name,
                 const SensorField<T>& s, Fmt fmt)
{
    char obs[16];
    fmt(obs, sizeof obs, s.observed());
    shell_print(sh, "  %-18s observed=%s", name, obs);
}

/* ── Command handlers ─────────────────────────────────────────────── */

int CmdStatus(const struct shell* sh, size_t /*argc*/, char** /*argv*/)
{
    const LogicalACState s = sync::SyncCoordinator::Instance().Snapshot();

    shell_print(sh, "LogicalACState:");
    printTwin(sh, "onOff",        s.onOff,        fmtOnOff);
    printTwin(sh, "mode",         s.mode,         fmtOperationalMode);
    printTwin(sh, "heatSetpoint", s.heatSetpoint, fmtTemperature);
    printTwin(sh, "coolSetpoint", s.coolSetpoint, fmtTemperature);
    printTwin(sh, "autoSetpoint", s.autoSetpoint, fmtTemperature);
    printTwin(sh, "fan",          s.fan,          fmtFanSpeed);
    printSensor(sh, "runningMode",      s.runningMode,          fmtRunningMode);
    printSensor(sh, "indoorTemp",       s.indoorTemp,           fmtTemperatureOpt);
    printSensor(sh, "outdoorTemp",      s.outdoorTemp,          fmtTemperatureOpt);
    printSensor(sh, "humidity",         s.humidity,             fmtHumidityOpt);
    printSensor(sh, "reachable",        s.reachable,            fmtBool);
    printSensor(sh, "refrigerantValve", s.refrigerantValveOpen, fmtOpenClosedOpt);
    return 0;
}

} // namespace

/* ── Shell registration ───────────────────────────────────────────── */

SHELL_STATIC_SUBCMD_SET_CREATE(sub_airconditioner,
    SHELL_CMD_ARG(status, NULL,
        "Print bridge LogicalACState, one field per line.\n"
        "TwinFields show observed / desired / inFlight values plus the\n"
        "last-observation source and the current attribution; SensorFields\n"
        "(sensor-only readings) show observed only.\n"
        "Usage: airconditioner status\n",
        CmdStatus, 1, 0),
    SHELL_SUBCMD_SET_END
);

SHELL_CMD_REGISTER(airconditioner, &sub_airconditioner,
    "Air conditioner bridge debug commands", NULL);
```

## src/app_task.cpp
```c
/*
 * Copyright (c) 2023 Nordic Semiconductor ASA
 *
 * SPDX-License-Identifier: LicenseRef-Nordic-5-Clause
 */

#include "app_task.h"

#include "airconditioner_manager.h"
#include "s21/s21_stack.h"
#include "sync/sync_coordinator.h"

#include "app/matter_init.h"
#include "app/task_executor.h"
#include "clusters/identify.h"

#include <app-common/zap-generated/attributes/Accessors.h>
#include <setup_payload/OnboardingCodesUtil.h>

#include <openthread/thread.h>
#include <openthread.h>

#include <zephyr/logging/log.h>

LOG_MODULE_DECLARE(app, CONFIG_MATTER_LOG_LEVEL);

using namespace ::chip;
using namespace ::chip::app;
using namespace ::chip::DeviceLayer;

namespace {
constexpr EndpointId kThermostatEndpointId = 1;

Nrf::Matter::IdentifyCluster sIdentifyThermostatCluster(kThermostatEndpointId);

#define TEMPERATURE_BUTTON_MASK DK_BTN2_MSK

constexpr uint32_t kThreadStatusIntervalMs = 30000;
k_timer sThreadStatusTimer;

void ThreadStatusTimerHandler()
{
    otInstance *instance = openthread_get_default_instance();
    if (!instance) {
        return;
    }

    int8_t avgRssi, lastRssi;

    openthread_mutex_lock();
    otError avgErr = otThreadGetParentAverageRssi(instance, &avgRssi);
    otError lastErr = otThreadGetParentLastRssi(instance, &lastRssi);
    openthread_mutex_unlock();

    if (avgErr == OT_ERROR_NONE && lastErr == OT_ERROR_NONE) {
        LOG_INF("Thread parent RSSI: avg=%d dBm, last=%d dBm", avgRssi, lastRssi);
    }
}

} /* namespace */

void AppTask::ButtonEventHandler(Nrf::ButtonState state, Nrf::ButtonMask hasChanged)
{
    if (TEMPERATURE_BUTTON_MASK & hasChanged) {
        TemperatureButtonAction action =
                (TEMPERATURE_BUTTON_MASK & state) ? TemperatureButtonAction::Pushed : TemperatureButtonAction::Released;
        Nrf::PostTask([action] { ThermostatHandler(action); });
    }
}

void AppTask::ThermostatHandler(const TemperatureButtonAction& action)
{
    if (action == TemperatureButtonAction::Pushed) {
        AirConditionerManager::Instance().LogThermostatStatus();
    }
}

CHIP_ERROR AppTask::Init()
{
    int err = S21Stack::Instance().Init();
    if (err) {
        LOG_ERR("S21Stack initialization failed: %d", err);
        return chip::System::MapErrorZephyr(err);
    }

    /* Initialize Matter stack */
    ReturnErrorOnFailure(Nrf::Matter::PrepareServer(Nrf::Matter::InitData{.mPostServerInitClbk = [] {
        // SyncCoordinator must Init *after* the Matter Server has run plugin
        // init callbacks (so the SDK's gThermostatAttrAccess is registered
        // and we can unregister-then-replace it cleanly).
        CHIP_ERROR err = sync::SyncCoordinator::Instance().Init(/*endpoint=*/1);
        if (err != CHIP_NO_ERROR) {
            LOG_ERR("SyncCoordinator Init fail: 0x%" PRIx32, err.AsInteger());
            return err;
        }
        err = AirConditionerManager::Instance().Init(S21Stack::Instance().GetManager(),
                                                     sync::SyncCoordinator::Instance());
        if (err != CHIP_NO_ERROR) {
            LOG_ERR("AirConditionerManager Init fail");
        }
        return err;
    }}));

    if (!Nrf::GetBoard().Init(ButtonEventHandler)) {
        LOG_ERR("User interface initialization failed.");
        return CHIP_ERROR_INCORRECT_STATE;
    }

    /* Register Matter event handler that controls the connectivity status LED based on the captured Matter network
     * state. */
    ReturnErrorOnFailure(Nrf::Matter::RegisterEventHandler(Nrf::Board::DefaultMatterEventHandler, 0));

    ReturnErrorOnFailure(sIdentifyThermostatCluster.Init());

    /* Start periodic Thread RSSI logging */
    k_timer_init(&sThreadStatusTimer,
        [](k_timer *) { Nrf::PostTask([] { ThreadStatusTimerHandler(); }); },
        nullptr);
    k_timer_start(&sThreadStatusTimer, K_MSEC(kThreadStatusIntervalMs), K_MSEC(kThreadStatusIntervalMs));

    return Nrf::Matter::StartServer();
}

CHIP_ERROR AppTask::StartApp()
{
    ReturnErrorOnFailure(Init());

    while (true) {
        Nrf::DispatchNextTask();
    }

    return CHIP_NO_ERROR;
}
```

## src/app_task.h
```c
/*
 * Copyright (c) 2023 Nordic Semiconductor ASA
 *
 * SPDX-License-Identifier: LicenseRef-Nordic-5-Clause
 */

#pragma once

#include "board/board.h"

#include <platform/CHIPDeviceLayer.h>

struct Identify;

enum class TemperatureButtonAction : uint8_t {
    Pushed,
    Released
};

/**
 * AppTask is the top-level application singleton. Brings up the Matter
 * stack, the S21 transport, the temperature sensor manager, and the
 * AirConditionerManager during StartApp(), and routes board-level button
 * events to the appropriate handlers.
 */
class AppTask {
  public:
    static AppTask& Instance()
    {
        static AppTask sAppTask;
        return sAppTask;
    };

    CHIP_ERROR StartApp();

  private:
    CHIP_ERROR Init();

    static void ButtonEventHandler(Nrf::ButtonState state, Nrf::ButtonMask hasChanged);
    static void ThermostatHandler(const TemperatureButtonAction& action);
};
```

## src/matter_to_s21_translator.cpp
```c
/*
 * SPDX-License-Identifier: LicenseRef-Nordic-5-Clause
 */

#include "matter_to_s21_translator.h"

using SystemModeEnum = chip::app::Clusters::Thermostat::SystemModeEnum;
using chip::app::DataModel::Nullable;

S21OperationCommand MatterToS21Translator::translate(const MatterState& source)
{
    S21OperationCommand cmd;
    cmd.onOff   = source.onOff;
    cmd.fanMode = SpeedSettingToS21FanMode(source.speedSetting);

    cmd.operatingMode = SystemModeToOperatingMode(source.systemMode);

    switch (cmd.operatingMode) {
    case OperatingMode::Cool:
        cmd.setpointCelsius = source.coolingSetpointCelsius;
        break;
    case OperatingMode::Heat:
        cmd.setpointCelsius = source.heatingSetpointCelsius;
        break;
    case OperatingMode::Auto:
    case OperatingMode::Auto_Cooling:
    case OperatingMode::Auto_Heating:
        // Invert the deadband split applied in S21ToMatterTranslator: the S21
        // native setpoint sits kDeadbandOffsetCelsius below the cooling setpoint.
        cmd.setpointCelsius = source.coolingSetpointCelsius - kDeadbandOffsetCelsius;
        break;
    case OperatingMode::Dry:
    case OperatingMode::FanOnly:
        cmd.setpointCelsius = source.coolingSetpointCelsius;
        break;
    }

    return cmd;
}

FanMode MatterToS21Translator::SpeedSettingToS21FanMode(Nullable<uint8_t> speedSetting)
{
    if (speedSetting.IsNull()) return FanMode::Auto;
    switch (speedSetting.Value()) {
    case 0:  return FanMode::Auto; // 0 = power-off / unset → safe default
    case 1:  return FanMode::Quiet;
    case 2:  return FanMode::Low;
    case 3:  return FanMode::MidLow;
    case 4:  return FanMode::Medium;
    case 5:  return FanMode::MidHigh;
    case 6:  return FanMode::High;
    default: return FanMode::Auto; // out-of-range → Auto
    }
}

OperatingMode MatterToS21Translator::SystemModeToOperatingMode(SystemModeEnum mode)
{
    switch (mode) {
    case SystemModeEnum::kCool:          return OperatingMode::Cool;
    case SystemModeEnum::kHeat:          return OperatingMode::Heat;
    case SystemModeEnum::kEmergencyHeat: return OperatingMode::Heat;
    case SystemModeEnum::kDry:           return OperatingMode::Dry;
    case SystemModeEnum::kFanOnly:       return OperatingMode::FanOnly;
    case SystemModeEnum::kPrecooling:    return OperatingMode::Cool;
    case SystemModeEnum::kAuto:
    default:                             return OperatingMode::Auto;
    }
}
```

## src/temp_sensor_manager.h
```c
/*
 * Copyright (c) 2023 Nordic Semiconductor ASA
 *
 * SPDX-License-Identifier: LicenseRef-Nordic-5-Clause
 */
#pragma once

#include <stdbool.h>
#include <stdint.h>

#include <app-common/zap-generated/attributes/Accessors.h>
#include <lib/core/CHIPError.h>
#include <zephyr/kernel.h>

using namespace chip;

constexpr uint16_t kSensorTimerPeriodMs = 30000; /* 30s timer period*/

class TempSensorManager {
  public:
    CHIP_ERROR Init();

    static TempSensorManager& Instance()
    {
        static TempSensorManager sTempSensorManager;
        return sTempSensorManager;
    };

    static void SetLocalTemperature(int16_t temperature);
    static void ClearLocalTemperature();
    static void SetOutdoorTemperature(int16_t temperature);
    static void ClearOutdoorTemperature();

  private:
    static void TimerEventHandler(k_timer* timer);
    static void SensorTimerEventHandler();
};
```
